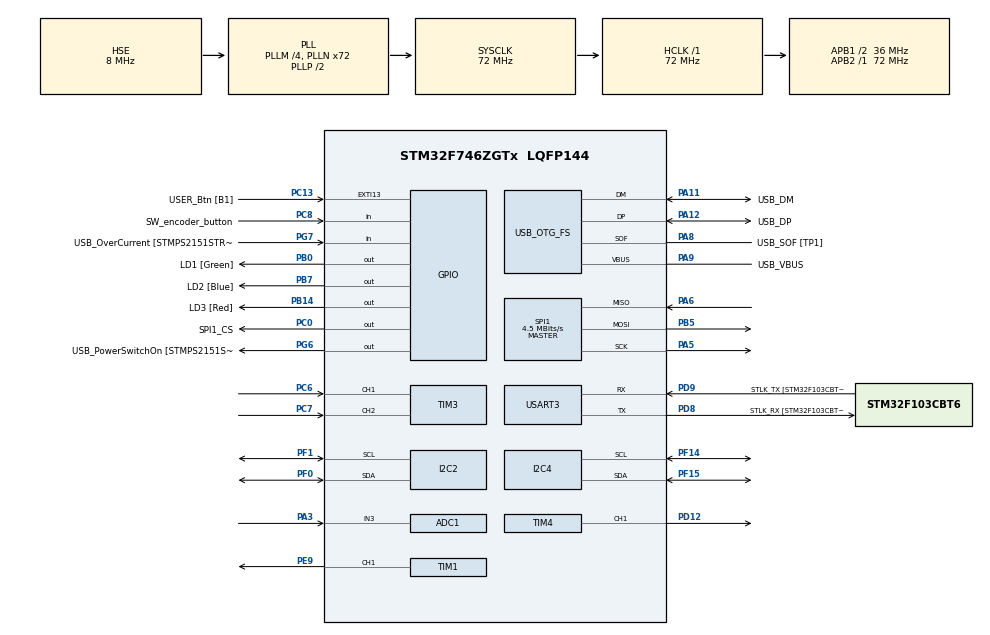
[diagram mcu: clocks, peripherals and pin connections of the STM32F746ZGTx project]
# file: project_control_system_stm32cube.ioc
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ADC1.Channel-0\#ChannelRegularConversion=ADC_CHANNEL_3
ADC1.NbrOfConversionFlag=1
ADC1.Rank-0\#ChannelRegularConversion=1
ADC1.SamplingTime-0\#ChannelRegularConversion=ADC_SAMPLETIME_3CYCLES
ADC1.master=1
I2C2.Timing=0x00808CD2
I2C4.Timing=0x00808CD2
Mcu.Family=STM32F7
Mcu.Name=STM32F746ZGTx
Mcu.Package=LQFP144
NVIC.PriorityGroup=NVIC_PRIORITYGROUP_4
NVIC.TIM7_IRQn=true\:0\:0\:false\:false\:true\:true\:true\:true
NVIC.USART3_IRQn=true\:0\:0\:false\:false\:true\:true\:true\:true
PA1.GPIO_Label=RMII_REF_CLK [LAN8742A-CZ-TR_REFCLK0]
PA1.Signal=ETH_REF_CLK
PA10.GPIO_Label=USB_ID
PA10.Signal=USB_OTG_FS_ID
PA11.GPIO_Label=USB_DM
PA11.Mode=Device_Only
PA11.Signal=USB_OTG_FS_DM
PA12.GPIO_Label=USB_DP
PA12.Mode=Device_Only
PA12.Signal=USB_OTG_FS_DP
PA13.GPIO_Label=TMS
PA13.Mode=Serial_Wire
PA13.Signal=SYS_JTMS-SWDIO
PA14.GPIO_Label=TCK
PA14.Mode=Serial_Wire
PA14.Signal=SYS_JTCK-SWCLK
PA2.GPIO_Label=RMII_MDIO [LAN8742A-CZ-TR_MDIO]
PA2.Signal=ETH_MDIO
PA3.Signal=ADCx_IN3
PA5.Mode=Full_Duplex_Master
PA5.Signal=SPI1_SCK
PA6.Mode=Full_Duplex_Master
PA6.Signal=SPI1_MISO
PA7.GPIO_Label=RMII_CRS_DV [LAN8742A-CZ-TR_CRS_DV]
PA7.Signal=ETH_CRS_DV
PA8.GPIO_Label=USB_SOF [TP1]
PA8.Mode=Activate_SOF_FS
PA8.Signal=USB_OTG_FS_SOF
PA9.GPIO_Label=USB_VBUS
PA9.Mode=Activate_VBUS
PA9.Signal=USB_OTG_FS_VBUS
PB0.GPIO_Label=LD1 [Green]
PB0.Signal=GPIO_Output
PB13.GPIO_Label=RMII_TXD1 [LAN8742A-CZ-TR_TXD1]
PB13.Signal=ETH_TXD1
PB14.GPIO_Label=LD3 [Red]
PB14.Signal=GPIO_Output
PB3.GPIO_Label=SW0
PB3.Signal=SYS_JTDO-SWO
PB5.Mode=Full_Duplex_Master
PB5.Signal=SPI1_MOSI
PB7.GPIO_Label=LD2 [Blue]
PB7.Signal=GPIO_Output
PC0.GPIO_Label=SPI1_CS
PC0.Signal=GPIO_Output
PC1.GPIO_Label=RMII_MDC [LAN8742A-CZ-TR_MDC]
PC1.Signal=ETH_MDC
PC13.GPIO_Label=USER_Btn [B1]
PC13.Signal=GPXTI13
PC14/OSC32_IN.Mode=LSE-External-Oscillator
PC14/OSC32_IN.Signal=RCC_OSC32_IN
PC15/OSC32_OUT.Mode=LSE-External-Oscillator
PC15/OSC32_OUT.Signal=RCC_OSC32_OUT
PC4.GPIO_Label=RMII_RXD0 [LAN8742A-CZ-TR_RXD0]
PC4.Signal=ETH_RXD0
PC5.GPIO_Label=RMII_RXD1 [LAN8742A-CZ-TR_RXD1]
PC5.Signal=ETH_RXD1
PC6.Signal=S_TIM3_CH1
PC7.Signal=S_TIM3_CH2
PC8.GPIO_Label=SW_encoder_button
PC8.Signal=GPIO_Input
PD12.Signal=S_TIM4_CH1
PD8.GPIO_Label=STLK_RX [STM32F103CBT6_PA3]
PD8.GPIO_PuPd=GPIO_PULLUP
PD8.Mode=Asynchronous
PD8.Signal=USART3_TX
PD9.GPIO_Label=STLK_TX [STM32F103CBT6_PA2]
PD9.GPIO_PuPd=GPIO_PULLUP
PD9.Mode=Asynchronous
PD9.Signal=USART3_RX
PE9.Signal=S_TIM1_CH1
PF0.Mode=I2C
PF0.Signal=I2C2_SDA
PF1.Mode=I2C
PF1.Signal=I2C2_SCL
PF14.Mode=I2C
PF14.Signal=I2C4_SCL
PF15.Mode=I2C
PF15.Signal=I2C4_SDA
PG11.GPIO_Label=RMII_TX_EN [LAN8742A-CZ-TR_TXEN]
PG11.Signal=ETH_TX_EN
PG13.GPIO_Label=RMII_TXD0 [LAN8742A-CZ-TR_TXD0]
PG13.Signal=ETH_TXD0
PG6.GPIO_Label=USB_PowerSwitchOn [STMPS2151STR_EN]
PG6.Signal=GPIO_Output
PG7.GPIO_Label=USB_OverCurrent [STMPS2151STR_FAULT]
PG7.Signal=GPIO_Input
PH0/OSC_IN.GPIO_Label=MCO [STM32F103CBT6_PA8]
PH0/OSC_IN.Mode=HSE-External-Clock-Source
PH0/OSC_IN.Signal=RCC_OSC_IN
PH1/OSC_OUT.Mode=HSE-External-Clock-Source
PH1/OSC_OUT.Signal=RCC_OSC_OUT
ProjectManager.HeapSize=0x200
ProjectManager.StackSize=0x400
ProjectManager.TargetToolchain=STM32CubeIDE
RCC.48MHZClocksFreq_Value=24000000
RCC.AHBFreq_Value=72000000
RCC.APB1CLKDivider=RCC_HCLK_DIV2
RCC.APB1Freq_Value=36000000
RCC.APB1TimFreq_Value=72000000
RCC.APB2Freq_Value=72000000
RCC.APB2TimFreq_Value=72000000
RCC.CortexFreq_Value=72000000
RCC.HCLKFreq_Value=72000000
RCC.HSE_VALUE=8000000
RCC.HSI_VALUE=16000000
RCC.PLLM=4
RCC.PLLMUL=RCC_PLL_MUL9
RCC.PLLN=72
RCC.PLLQ=3
RCC.PRESCALERUSB=RCC_USBCLKSOURCE_PLL_DIV1_5
RCC.SYSCLKFreq_VALUE=72000000
RCC.SYSCLKSource=RCC_SYSCLKSOURCE_PLLCLK
RCC.SYSCLKSourceVirtual=RCC_SYSCLKSOURCE_PLLCLK
RCC.USBFreq_Value=48000000
RCC.VCOOutputFreq_Value=144000000
SH.ADCx_IN3.0=ADC1_IN3,IN3
SH.S_TIM1_CH1.0=TIM1_CH1,PWM Generation1 CH1
SH.S_TIM3_CH1.0=TIM3_CH1,Encoder_Interface
SH.S_TIM3_CH2.0=TIM3_CH2,Encoder_Interface
SH.S_TIM4_CH1.0=TIM4_CH1,PWM Generation1 CH1
SPI1.BaudRatePrescaler=SPI_BAUDRATEPRESCALER_16
SPI1.CLKPhase=SPI_PHASE_2EDGE
SPI1.CLKPolarity=SPI_POLARITY_HIGH
SPI1.CalculateBaudRate=4.5 MBits/s
SPI1.DataSize=SPI_DATASIZE_8BIT
SPI1.Direction=SPI_DIRECTION_2LINES
SPI1.Mode=SPI_MODE_MASTER
SPI1.VirtualType=VM_MASTER
TIM1.AutoReloadPreload=TIM_AUTORELOAD_PRELOAD_ENABLE
TIM1.Channel-PWM\ Generation1\ CH1=TIM_CHANNEL_1
TIM1.Period=999
TIM1.Prescaler=71
TIM4.AutoReloadPreload=TIM_AUTORELOAD_PRELOAD_ENABLE
TIM4.Channel-PWM\ Generation1\ CH1=TIM_CHANNEL_1
TIM4.Period=999
TIM4.Prescaler=71
TIM7.Period=19999
TIM7.Prescaler=3599
USART3.VirtualMode-Asynchronous=VM_ASYNC
USB_OTG_FS.VirtualMode=Device_Only
VP_TIM1_VS_ClockSourceINT.Mode=Internal
VP_TIM4_VS_ClockSourceINT.Mode=Internal
VP_TIM7_VS_ClockSourceINT.Mode=Enable_Timer
board=NUCLEO-F746ZG

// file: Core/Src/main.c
/* USER CODE BEGIN Header */
/**
  ******************************************************************************
  * @file           : main.c
  * @brief          : Main program body
  ******************************************************************************
  * @attention
  *
  * Copyright (c) 2025 STMicroelectronics.
  * All rights reserved.
  *
  * This software is licensed under terms that can be found in the LICENSE file
  * in the root directory of this software component.
  * If no LICENSE file comes with this software, it is provided AS-IS.
  *
  ******************************************************************************
  */
/* USER CODE END Header */
#include "main.h"
#include "adc.h"
#include "i2c.h"
#include "spi.h"
#include "tim.h"
#include "usart.h"
#include "usb_otg.h"
#include "gpio.h"

/* USER CODE BEGIN Includes */
#include "BMPXX80.h"
#include <stdio.h>
#include <string.h>
#include "i2c-lcd.h"
/* USER CODE END Includes */

/* USER CODE BEGIN PTD */
typedef	struct{
	float 		dt;				// czas probkowania Tp=1 s
	float		upid; 			// sygnal pid (przed nasyceniem)
	float		usat;			// sygnal sterujacy nasycony
	float		Kp;				// parametr PID Kp
	float		Ki;				// parametr PID Ki
	float		Kd;				// parametr PID Kd
	float		up;				// skladowa sygnalu sterujacego (proporcjonalna)
	float		ud;   			// skladowa sygnalu sterujacego (rozniczkujaca)
	float		ui;	    		// skladowa sygnalu sterujacego (calkujaca)
	float		e;				// blad regulacji
	float		prev_integral;	// zmienne pomocnicze
	float		integral;
	float		prev_error;
	float		derivative;
	float 		usat_fan;
}PidStruct;

/* USER CODE END PTD */

/* USER CODE BEGIN PM */
#define COUNTOF(_BUFFER_) (sizeof(_BUFFER_) / sizeof(*(_BUFFER_)))
/* USER CODE END PM */

/* USER CODE BEGIN PV */
float temperature_from_bmp280;
float temperature_from_user;
char data[16];
PidStruct Pid1 = {1.0,0,0,1.2,0.02,0,0,0,0,0,0,0,0,0,0};
int pwm_duty_fan;
int pwm_duty;
int temperature_from_uart;
int int_temp_to_send;
uint8_t received_from_user;
uint32_t AdcValue_from_potentiometer;
float max_range = 30.0;
float min_range = 23.0;
char lcd_temp[16];
char lcd_set_point[16];
uint8_t uart_temp[64];

/* USER CODE END PV */

void SystemClock_Config(void);
/* USER CODE BEGIN PFP */
void Saturacja(void)
{
	if (Pid1.upid > 1.0)
	{
		Pid1.usat = 1.0;
	}
	else if (Pid1.upid < 0.0)
	{
		Pid1.usat = 0.0;
	}
	else
	{
		Pid1.usat = Pid1.upid;
	}

	if (Pid1.upid <= -1.0)
	{
		Pid1.usat_fan = 1.0;
	}
	else if((Pid1.upid > -1.0)&&(Pid1.upid<-0.4))
	{
		Pid1.usat_fan = (-1)*Pid1.upid;
	}
	else if(Pid1.upid >= -0.4)
	{
		Pid1.usat_fan = 0.0;
	}
}

void PIDcalc(float temp_measured, float reference)
{
	Pid1.e = reference-temp_measured;

	// proportional part
	Pid1.up = Pid1.Kp * Pid1.e;

	// integral part

	if ((Pid1.usat-Pid1.upid < 0)||(Pid1.usat_fan+Pid1.upid < 0))
	{
		Pid1.integral = Pid1.prev_integral;
	}
	else
	{
		Pid1.integral = Pid1.prev_integral + (Pid1.e + Pid1.prev_error);
		Pid1.prev_integral = Pid1.integral;
	}
	Pid1.ui = Pid1.Ki * Pid1.integral  * (Pid1.dt/2.0);

	// derivative part
	Pid1.derivative = (Pid1.e - Pid1.prev_error) / Pid1.dt;
	Pid1.prev_error = Pid1.e;
	Pid1.ud = Pid1.Kd * Pid1.derivative;

	// sum
	Pid1.upid = Pid1.up + Pid1.ui +Pid1.ud;
}
/* USER CODE END PFP */

/* USER CODE BEGIN 0 */
int is_int(char *str) {
    int i = 0, len = strlen(str);
    if (str[i] == '+' || str[i] == '-') i++;
    if (i == len) return 0;
    while (i < len) {
        if (isdigit(str[i])) {
            i++;
        } else {
            return 0;
        }
    }
    return 1;
}

float ADC_to_temperature(uint32_t adc_val, float max_val, float min_val)
{
	float temp_val;
	temp_val = adc_val * ((max_val-min_val)/4095.0) + min_val;

	return temp_val;
}
/* USER CODE END 0 */

int main(void)
{

  /* MCU Configuration--------------------------------------------------------*/

  /* Reset of all peripherals, Initializes the Flash interface and the Systick. */
  HAL_Init();

  /* Configure the system clock */
  SystemClock_Config();

  /* Initialize all configured peripherals */
  MX_GPIO_Init();
  MX_USART3_UART_Init();
  MX_USB_OTG_FS_PCD_Init();
  MX_ADC1_Init();
  MX_I2C2_Init();
  MX_I2C4_Init();
  MX_SPI1_Init();
  MX_TIM1_Init();
  MX_TIM3_Init();
  MX_TIM4_Init();
  MX_TIM7_Init();
  /* USER CODE BEGIN 2 */
  BMP280_Init(&hspi1, BMP280_TEMPERATURE_16BIT, BMP280_STANDARD, BMP280_FORCEDMODE);
  HAL_TIM_PWM_Start (&htim1, TIM_CHANNEL_1);
  HAL_TIM_PWM_Start (&htim4, TIM_CHANNEL_1);
  HAL_UART_Receive_IT(&huart3, &received_from_user, 3);
  GPIO_PinState pin_state_user_button;
  GPIO_PinState prev_pin_state_user_button = GPIO_PIN_RESET;
  HAL_TIM_Base_Start_IT(&htim7);
  lcd_init();
  lcd_clear();
  /* USER CODE END 2 */

  /* Infinite loop */
  while (1)
  {

    /* USER CODE BEGIN 3 */
	// ODCZYT DANYCH WEJSCIOWYCH
	temperature_from_bmp280 = BMP280_ReadTemperature();
	pin_state_user_button = HAL_GPIO_ReadPin(GPIOC, GPIO_PIN_13);
	HAL_ADC_Start(&hadc1);
	HAL_ADC_PollForConversion(&hadc1, HAL_MAX_DELAY);
	AdcValue_from_potentiometer = HAL_ADC_GetValue(&hadc1);

	// SEKWENCJA PROGRAMU

		// REGULACJA
	PIDcalc(temperature_from_bmp280, temperature_from_user);
	Saturacja();
	pwm_duty = (int)(Pid1.usat * (999.0));
	pwm_duty_fan = (int)(Pid1.usat_fan * (999.0));

		// Zmienna temperature_from_uart
	if (pin_state_user_button == GPIO_PIN_SET && prev_pin_state_user_button == GPIO_PIN_RESET)
	{
		temperature_from_uart = !temperature_from_uart;
	}
	prev_pin_state_user_button = pin_state_user_button;

		// Setpoint value from potentiometer
	if (temperature_from_uart == 0)
	{
		temperature_from_user = ADC_to_temperature(AdcValue_from_potentiometer, max_range, min_range);
	}

	// WYSLANIE DANYCH WYJSCIOWYCH
	//int_temp_to_send = (int)(temperature_from_bmp280*1000);
	sprintf((char*)uart_temp, "\n%f", temperature_from_bmp280);
	HAL_UART_Transmit(&huart3, uart_temp, strlen((char*)uart_temp), 50);

	__HAL_TIM_SET_COMPARE(&htim1, TIM_CHANNEL_1, pwm_duty);
	__HAL_TIM_SET_COMPARE(&htim4, TIM_CHANNEL_1, pwm_duty_fan);

		// Led 1  - temperature_from_uart
	if (temperature_from_uart == 1)
	{
		HAL_GPIO_WritePin(GPIOB, GPIO_PIN_0, GPIO_PIN_SET);
	}
	else
	{
		HAL_GPIO_WritePin(GPIOB, GPIO_PIN_0, GPIO_PIN_RESET);
	}

	HAL_Delay(1000);
  }
  /* USER CODE END 3 */
}

void SystemClock_Config(void)
{
  RCC_OscInitTypeDef RCC_OscInitStruct = {0};
  RCC_ClkInitTypeDef RCC_ClkInitStruct = {0};

  /** Configure LSE Drive Capability
  */
  HAL_PWR_EnableBkUpAccess();

  /** Configure the main internal regulator output voltage
  */
  __HAL_RCC_PWR_CLK_ENABLE();
  __HAL_PWR_VOLTAGESCALING_CONFIG(PWR_REGULATOR_VOLTAGE_SCALE3);

  /** Initializes the RCC Oscillators according to the specified parameters
  * in the RCC_OscInitTypeDef structure.
  */
  RCC_OscInitStruct.OscillatorType = RCC_OSCILLATORTYPE_HSE;
  RCC_OscInitStruct.HSEState = RCC_HSE_BYPASS;
  RCC_OscInitStruct.PLL.PLLState = RCC_PLL_ON;
  RCC_OscInitStruct.PLL.PLLSource = RCC_PLLSOURCE_HSE;
  RCC_OscInitStruct.PLL.PLLM = 4;
  RCC_OscInitStruct.PLL.PLLN = 72;
  RCC_OscInitStruct.PLL.PLLP = RCC_PLLP_DIV2;
  RCC_OscInitStruct.PLL.PLLQ = 3;
  if (HAL_RCC_OscConfig(&RCC_OscInitStruct) != HAL_OK)
  {
    Error_Handler();
  }

  /** Initializes the CPU, AHB and APB buses clocks
  */
  RCC_ClkInitStruct.ClockType = RCC_CLOCKTYPE_HCLK|RCC_CLOCKTYPE_SYSCLK
                              |RCC_CLOCKTYPE_PCLK1|RCC_CLOCKTYPE_PCLK2;
  RCC_ClkInitStruct.SYSCLKSource = RCC_SYSCLKSOURCE_PLLCLK;
  RCC_ClkInitStruct.AHBCLKDivider = RCC_SYSCLK_DIV1;
  RCC_ClkInitStruct.APB1CLKDivider = RCC_HCLK_DIV2;
  RCC_ClkInitStruct.APB2CLKDivider = RCC_HCLK_DIV1;

  if (HAL_RCC_ClockConfig(&RCC_ClkInitStruct, FLASH_LATENCY_2) != HAL_OK)
  {
    Error_Handler();
  }
}

/* USER CODE BEGIN 4 */
void HAL_UART_RxCpltCallback(UART_HandleTypeDef *huart)
{
	if(is_int(&received_from_user))
	{
		if (temperature_from_uart == 1)
		    {
				temperature_from_user = atoi(&received_from_user)/10.0;
		    }
	}
	HAL_UART_Receive_IT(&huart3, &received_from_user, 3);
}

void HAL_TIM_PeriodElapsedCallback(TIM_HandleTypeDef *htim)
{
	// LCD
	sprintf(lcd_temp, "Odczyt: %.2f C", temperature_from_bmp280);
	sprintf(lcd_set_point, "Zadane: %.2f C", temperature_from_user);
	lcd_put_cur(0, 0);
	lcd_send_string(lcd_temp);
	lcd_put_cur(1, 0);
	lcd_send_string(lcd_set_point);
}
/* USER CODE END 4 */

void Error_Handler(void)
{
  __disable_irq();
  while (1)
  {
  }
}
